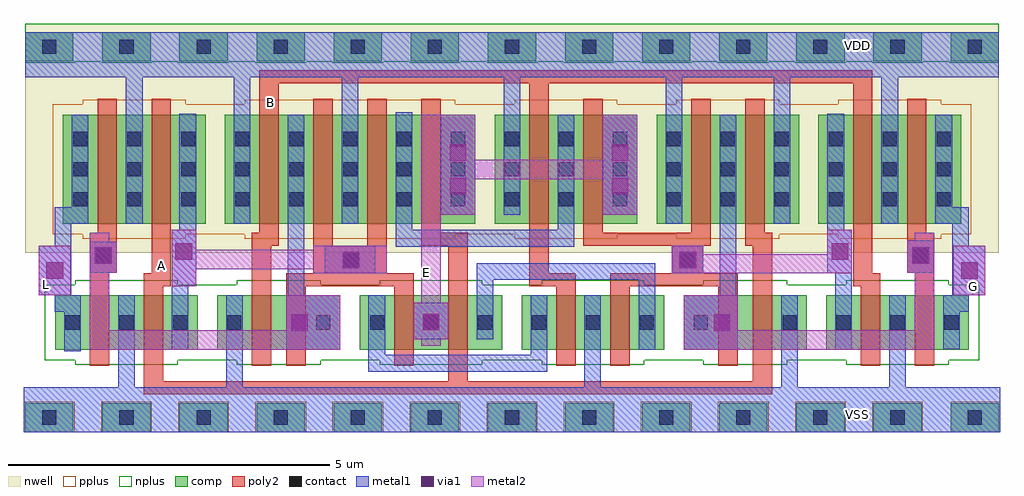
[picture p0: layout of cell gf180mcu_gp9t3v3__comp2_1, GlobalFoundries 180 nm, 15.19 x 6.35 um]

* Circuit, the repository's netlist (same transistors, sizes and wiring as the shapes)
* NGSPICE file created from gf180mcu_gp9t3v3__comp2_1.ext - technology: gf180mcuD

.subckt gf180mcu_gp9t3v3__comp2_1 L E G VDD VSS B A
X0 VDD B a_n11097_13463# VDD pfet_03v3 ad=0.459p pd=2.24u as=0.918p ps=4.48u w=1.7u l=0.3u
X1 a_n12405_13139# A VSS VSS nfet_03v3 ad=0.459p pd=2.78u as=0.2295p ps=1.39u w=0.85u l=0.3u
X2 VSS B a_n11793_13139# VSS nfet_03v3 ad=0.2295p pd=1.39u as=0.459p ps=2.78u w=0.85u l=0.3u
X3 a_n10617_13139# a_n11097_13463# a_n10785_13139# VSS nfet_03v3 ad=0.102p pd=1.09u as=0.459p ps=2.78u w=0.85u l=0.3u
X4 a_n10785_13139# a_n11097_13463# VDD VDD pfet_03v3 ad=0.459p pd=2.24u as=0.918p ps=4.48u w=1.7u l=0.3u
X5 a_n12069_13139# B VSS VSS nfet_03v3 ad=0.102p pd=1.09u as=0.459p ps=2.78u w=0.85u l=0.3u
X6 VDD a_n12633_13089# L VDD pfet_03v3 ad=0.459p pd=2.24u as=0.918p ps=4.48u w=1.7u l=0.3u
X7 E a_n11097_13463# a_n11709_13531# VDD pfet_03v3 ad=0.918p pd=4.48u as=0.459p ps=2.24u w=1.7u l=0.3u
X8 VSS a_n12633_13089# L VSS nfet_03v3 ad=0.2295p pd=1.39u as=0.459p ps=2.78u w=0.85u l=0.3u
X9 a_n11457_13139# a_n11097_13463# VSS VSS nfet_03v3 ad=0.459p pd=2.78u as=0.2295p ps=1.39u w=0.85u l=0.3u
X10 a_n11709_13531# B VDD VDD pfet_03v3 ad=0.459p pd=2.24u as=0.918p ps=4.48u w=1.7u l=0.3u
X11 E a_n12405_13139# a_n11793_13139# VSS nfet_03v3 ad=0.2295p pd=1.39u as=0.459p ps=2.78u w=0.85u l=0.3u
X12 G a_n10785_13139# VSS VSS nfet_03v3 ad=0.459p pd=2.78u as=0.2295p ps=1.39u w=0.85u l=0.3u
X13 a_n12633_13089# a_n12405_13139# a_n12069_13139# VSS nfet_03v3 ad=0.459p pd=2.78u as=0.102p ps=1.09u w=0.85u l=0.3u
X14 a_n11457_13139# A E VSS nfet_03v3 ad=0.459p pd=2.78u as=0.2295p ps=1.39u w=0.85u l=0.3u
X15 VSS B a_n11097_13463# VSS nfet_03v3 ad=0.2295p pd=1.39u as=0.459p ps=2.78u w=0.85u l=0.3u
X16 E A a_n11709_13531# VDD pfet_03v3 ad=0.918p pd=4.48u as=0.459p ps=2.24u w=1.7u l=0.3u
X17 a_n11709_13531# a_n12405_13139# VDD VDD pfet_03v3 ad=0.459p pd=2.24u as=0.459p ps=2.24u w=1.7u l=0.3u
X18 a_n12405_13139# A VDD VDD pfet_03v3 ad=0.918p pd=4.48u as=0.459p ps=2.24u w=1.7u l=0.3u
X19 VDD a_n12405_13139# a_n12633_13089# VDD pfet_03v3 ad=0.459p pd=2.24u as=0.459p ps=2.24u w=1.7u l=0.3u
X20 VSS A a_n10617_13139# VSS nfet_03v3 ad=0.459p pd=2.78u as=0.102p ps=1.09u w=0.85u l=0.3u
X21 a_n12633_13089# B VDD VDD pfet_03v3 ad=0.459p pd=2.24u as=0.918p ps=4.48u w=1.7u l=0.3u
X22 G a_n10785_13139# VDD VDD pfet_03v3 ad=0.918p pd=4.48u as=0.459p ps=2.24u w=1.7u l=0.3u
X23 VDD A a_n10785_13139# VDD pfet_03v3 ad=0.918p pd=4.48u as=0.459p ps=2.24u w=1.7u l=0.3u
.ends

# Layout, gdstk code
import gdstk
lib = gdstk.Library(unit=1e-6, precision=1e-09)
def R(c, l, rs):  # rectangles x0, y0, x1, y1
    for r in rs: c.add(gdstk.rectangle(r[:2], r[2:], *l))
nwell = (21, 0)
comp = (22, 0)
poly2 = (30, 0)
pplus = (31, 0)
nplus = (32, 0)
contact = (33, 0)
metal1 = (34, 0)
via1 = (35, 0)
metal2 = (36, 0)

gf180mcu_gp9t3v3__comp2_ = lib.new_cell('gf180mcu_gp9t3v3__comp2_1')
R(gf180mcu_gp9t3v3__comp2_, nwell, [(-64.17,67.205,-49.02,70.765), (-64.17,67.205,-49.02,70.765)])
R(gf180mcu_gp9t3v3__comp2_, comp, [(-64.17,64.415,-63.42,64.865), (-64.17,64.415,-63.42,64.865), (-64.17,64.415,-63.42,64.865), (-64.17,64.415,-63.42,64.865), (-62.97,64.415,-62.22,64.865), (-62.97,64.415,-62.22,64.865), (-62.97,64.415,-62.22,64.865), (-62.97,64.415,-62.22,64.865), (-61.77,64.415,-61.02,64.865), (-61.77,64.415,-61.02,64.865), (-60.57,64.415,-59.82,64.865), (-60.57,64.415,-59.82,64.865), (-59.37,64.415,-58.62,64.865), (-59.37,64.415,-58.62,64.865), (-58.17,64.415,-57.42,64.865), (-58.17,64.415,-57.42,64.865), (-56.97,64.415,-56.22,64.865), (-56.97,64.415,-56.22,64.865), (-55.77,64.415,-55.02,64.865), (-55.77,64.415,-55.02,64.865), (-54.57,64.415,-53.82,64.865), (-54.57,64.415,-53.82,64.865), (-53.37,64.415,-52.62,64.865), (-53.37,64.415,-52.62,64.865), (-52.17,64.415,-51.42,64.865), (-52.17,64.415,-51.42,64.865), (-50.97,64.415,-50.22,64.865), (-50.97,64.415,-50.22,64.865), (-49.77,64.415,-49.02,64.865), (-49.77,64.415,-49.02,64.865), (-49.77,64.415,-49.02,64.865), (-49.77,64.415,-49.02,64.865), (-63.705,65.695,-61.485,66.545), (-63.705,65.695,-61.485,66.545), (-61.185,65.695,-59.265,66.545), (-61.185,65.695,-59.265,66.545), (-58.965,65.695,-56.745,66.545), (-58.965,65.695,-56.745,66.545), (-56.445,65.695,-54.225,66.545), (-56.445,65.695,-54.225,66.545), (-53.925,65.695,-52.005,66.545), (-53.925,65.695,-52.005,66.545), (-51.705,65.695,-49.485,66.545), (-51.705,65.695,-49.485,66.545), (-63.585,67.655,-61.365,69.355), (-63.585,67.655,-61.365,69.355), (-61.065,67.655,-57.165,69.355), (-61.065,67.655,-57.165,69.355), (-56.865,67.655,-54.645,69.355), (-56.865,67.655,-54.645,69.355), (-54.345,67.655,-52.125,69.355), (-54.345,67.655,-52.125,69.355), (-51.825,67.655,-49.605,69.355), (-51.825,67.655,-49.605,69.355), (-64.17,70.185,-63.42,70.635), (-64.17,70.185,-63.42,70.635), (-62.97,70.185,-62.22,70.635), (-62.97,70.185,-62.22,70.635), (-62.97,70.185,-62.22,70.635), (-62.97,70.185,-62.22,70.635), (-61.77,70.185,-61.02,70.635), (-61.77,70.185,-61.02,70.635), (-60.57,70.185,-59.82,70.635), (-60.57,70.185,-59.82,70.635), (-59.37,70.185,-58.62,70.635), (-59.37,70.185,-58.62,70.635), (-58.17,70.185,-57.42,70.635), (-58.17,70.185,-57.42,70.635), (-56.97,70.185,-56.22,70.635), (-56.97,70.185,-56.22,70.635), (-55.77,70.185,-55.02,70.635), (-55.77,70.185,-55.02,70.635), (-54.57,70.185,-53.82,70.635), (-54.57,70.185,-53.82,70.635), (-53.37,70.185,-52.62,70.635), (-53.37,70.185,-52.62,70.635), (-52.17,70.185,-51.42,70.635), (-52.17,70.185,-51.42,70.635), (-50.97,70.185,-50.22,70.635), (-50.97,70.185,-50.22,70.635), (-49.77,70.185,-49.02,70.635), (-49.77,70.185,-49.02,70.635)])
R(gf180mcu_gp9t3v3__comp2_, poly2, [(-62.325,65.005,-52.545,65.205), (-62.325,65.005,-52.545,65.205), (-62.325,65.205,-62.025,66.685), (-62.325,65.205,-62.025,66.685), (-57.585,65.205,-57.285,67.315), (-57.585,65.205,-57.285,67.315), (-52.845,65.205,-52.545,67.315), (-52.845,65.205,-52.545,67.315), (-63.165,65.445,-62.865,66.895), (-63.165,65.445,-62.865,66.895), (-60.645,65.445,-60.345,67.315), (-60.645,65.445,-60.345,67.315), (-60.105,65.445,-59.805,66.685), (-60.105,65.445,-59.805,66.685), (-58.425,65.445,-58.125,66.685), (-58.425,65.445,-58.125,66.685), (-55.905,65.445,-55.605,66.685), (-55.905,65.445,-55.605,66.685), (-55.065,65.445,-54.765,66.685), (-55.065,65.445,-54.765,66.685), (-53.385,65.445,-53.085,66.685), (-53.385,65.445,-53.085,66.685), (-51.165,65.445,-50.865,66.685), (-51.165,65.445,-50.865,66.685), (-50.325,65.445,-50.025,66.895), (-50.325,65.445,-50.025,66.895), (-62.325,66.685,-61.905,66.885), (-62.325,66.685,-61.905,66.885), (-60.105,66.685,-58.125,66.885), (-60.105,66.685,-58.125,66.885), (-56.325,66.685,-55.605,66.885), (-56.325,66.685,-55.605,66.885), (-55.065,66.685,-53.085,66.885), (-55.065,66.685,-53.085,66.885), (-51.285,66.685,-50.865,66.885), (-51.285,66.685,-50.865,66.885), (-62.205,66.885,-61.905,69.605), (-62.205,66.885,-61.905,69.605), (-59.685,66.885,-58.545,67.31), (-59.685,66.885,-58.545,67.31), (-56.325,66.885,-56.025,69.845), (-56.325,66.885,-56.025,69.845), (-54.11,66.885,-53.615,67.315), (-54.11,66.885,-53.615,67.315), (-51.285,66.885,-50.985,69.845), (-51.285,66.885,-50.985,69.845), (-63.165,66.895,-62.745,67.515), (-63.165,66.895,-62.745,67.515), (-50.445,66.895,-50.025,67.515), (-50.445,66.895,-50.025,67.515), (-59.685,67.31,-59.385,69.605), (-59.685,67.31,-59.385,69.605), (-58.845,67.31,-58.545,69.605), (-58.845,67.31,-58.545,69.605), (-60.645,67.315,-60.225,67.515), (-60.645,67.315,-60.225,67.515), (-58.005,67.315,-57.285,67.515), (-58.005,67.315,-57.285,67.515), (-55.485,67.315,-53.505,67.515), (-55.485,67.315,-53.505,67.515), (-52.965,67.315,-52.545,67.515), (-52.965,67.315,-52.545,67.515), (-63.045,67.515,-62.745,69.605), (-63.045,67.515,-62.745,69.605), (-60.525,67.515,-60.225,69.845), (-60.525,67.515,-60.225,69.845), (-58.005,67.515,-57.705,69.605), (-58.005,67.515,-57.705,69.605), (-55.485,67.515,-55.185,69.605), (-55.485,67.515,-55.185,69.605), (-53.805,67.515,-53.505,69.605), (-53.805,67.515,-53.505,69.605), (-52.965,67.515,-52.665,69.605), (-52.965,67.515,-52.665,69.605), (-50.445,67.515,-50.145,69.605), (-50.445,67.515,-50.145,69.605), (-60.525,69.845,-50.985,70.045), (-60.525,69.845,-50.985,70.045)])
R(gf180mcu_gp9t3v3__comp2_, pplus, [(-64.19,64.415,-63.4,64.885), (-64.19,64.415,-63.4,64.885), (-62.99,64.415,-62.2,64.885), (-62.99,64.415,-62.2,64.885), (-61.79,64.415,-61,64.885), (-61.79,64.415,-61,64.885), (-60.59,64.415,-59.8,64.885), (-60.59,64.415,-59.8,64.885), (-59.39,64.415,-58.6,64.885), (-59.39,64.415,-58.6,64.885), (-58.19,64.415,-57.4,64.885), (-58.19,64.415,-57.4,64.885), (-56.99,64.415,-56.2,64.885), (-56.99,64.415,-56.2,64.885), (-55.79,64.415,-55,64.885), (-55.79,64.415,-55,64.885), (-54.59,64.415,-53.8,64.885), (-54.59,64.415,-53.8,64.885), (-53.39,64.415,-52.6,64.885), (-53.39,64.415,-52.6,64.885), (-52.19,64.415,-51.4,64.885), (-52.19,64.415,-51.4,64.885), (-50.99,64.415,-50.2,64.885), (-50.99,64.415,-50.2,64.885), (-49.77,64.415,-49,64.885), (-49.77,64.415,-49,64.885), (-63.275,67.425,-61.675,67.495), (-63.275,67.425,-61.675,67.495), (-60.755,67.425,-57.475,67.495), (-60.755,67.425,-57.475,67.495), (-56.555,67.425,-54.955,67.495), (-56.555,67.425,-54.955,67.495), (-54.035,67.425,-52.435,67.495), (-54.035,67.425,-52.435,67.495), (-51.515,67.425,-49.915,67.495), (-51.515,67.425,-49.915,67.495), (-63.745,67.495,-49.445,69.515), (-63.745,67.495,-49.445,69.515), (-63.275,69.515,-61.675,69.585), (-63.275,69.515,-61.675,69.585), (-60.755,69.515,-57.475,69.585), (-60.755,69.515,-57.475,69.585), (-56.555,69.515,-54.955,69.585), (-56.555,69.515,-54.955,69.585), (-54.035,69.515,-52.435,69.585), (-54.035,69.515,-52.435,69.585), (-51.515,69.515,-49.915,69.585), (-51.515,69.515,-49.915,69.585)])
R(gf180mcu_gp9t3v3__comp2_, nplus, [(-63.395,65.465,-61.795,65.535), (-63.395,65.465,-61.795,65.535), (-60.875,65.465,-59.575,65.535), (-60.875,65.465,-59.575,65.535), (-58.655,65.465,-57.055,65.535), (-58.655,65.465,-57.055,65.535), (-56.135,65.465,-54.535,65.535), (-56.135,65.465,-54.535,65.535), (-53.615,65.465,-52.315,65.535), (-53.615,65.465,-52.315,65.535), (-51.395,65.465,-49.795,65.535), (-51.395,65.465,-49.795,65.535), (-63.865,65.535,-49.325,66.705), (-63.865,65.535,-49.325,66.705), (-63.395,66.705,-61.795,66.775), (-63.395,66.705,-61.795,66.775), (-60.875,66.705,-59.575,66.775), (-60.875,66.705,-59.575,66.775), (-58.655,66.705,-57.055,66.775), (-58.655,66.705,-57.055,66.775), (-56.135,66.705,-54.535,66.775), (-56.135,66.705,-54.535,66.775), (-53.615,66.705,-52.315,66.775), (-53.615,66.705,-52.315,66.775), (-51.395,66.705,-49.795,66.775), (-51.395,66.705,-49.795,66.775), (-64.17,70.165,-63.4,70.175), (-64.17,70.165,-63.4,70.175), (-62.99,70.165,-62.2,70.175), (-62.99,70.165,-62.2,70.175), (-62.99,70.165,-62.2,70.175), (-62.99,70.165,-62.2,70.175), (-61.79,70.165,-61,70.175), (-61.79,70.165,-61,70.175), (-60.59,70.165,-59.8,70.175), (-60.59,70.165,-59.8,70.175), (-59.39,70.165,-58.6,70.175), (-59.39,70.165,-58.6,70.175), (-58.19,70.165,-57.4,70.175), (-58.19,70.165,-57.4,70.175), (-56.99,70.165,-56.2,70.175), (-56.99,70.165,-56.2,70.175), (-55.79,70.165,-55,70.175), (-55.79,70.165,-55,70.175), (-54.59,70.165,-53.8,70.175), (-54.59,70.165,-53.8,70.175), (-53.39,70.165,-52.6,70.175), (-53.39,70.165,-52.6,70.175), (-52.19,70.165,-51.4,70.175), (-52.19,70.165,-51.4,70.175), (-50.99,70.165,-50.2,70.175), (-50.99,70.165,-50.2,70.175), (-49.79,70.165,-49.02,70.175), (-49.79,70.165,-49.02,70.175), (-64.17,70.175,-49.02,70.765), (-64.17,70.175,-49.02,70.765)])
R(gf180mcu_gp9t3v3__comp2_, contact, [(-63.905,64.53,-63.685,64.75), (-63.905,64.53,-63.685,64.75), (-63.905,64.53,-63.685,64.75), (-63.905,64.53,-63.685,64.75), (-62.705,64.53,-62.485,64.75), (-62.705,64.53,-62.485,64.75), (-62.705,64.53,-62.485,64.75), (-62.705,64.53,-62.485,64.75), (-61.505,64.53,-61.285,64.75), (-61.505,64.53,-61.285,64.75), (-60.305,64.53,-60.085,64.75), (-60.305,64.53,-60.085,64.75), (-59.105,64.53,-58.885,64.75), (-59.105,64.53,-58.885,64.75), (-57.905,64.53,-57.685,64.75), (-57.905,64.53,-57.685,64.75), (-56.705,64.53,-56.485,64.75), (-56.705,64.53,-56.485,64.75), (-55.505,64.53,-55.285,64.75), (-55.505,64.53,-55.285,64.75), (-54.305,64.53,-54.085,64.75), (-54.305,64.53,-54.085,64.75), (-53.105,64.53,-52.885,64.75), (-53.105,64.53,-52.885,64.75), (-51.905,64.53,-51.685,64.75), (-51.905,64.53,-51.685,64.75), (-50.705,64.53,-50.485,64.75), (-50.705,64.53,-50.485,64.75), (-49.505,64.53,-49.285,64.75), (-49.505,64.53,-49.285,64.75), (-49.505,64.53,-49.285,64.75), (-49.505,64.53,-49.285,64.75), (-63.545,66.01,-63.325,66.23), (-63.545,66.01,-63.325,66.23), (-62.705,66.01,-62.485,66.23), (-62.705,66.01,-62.485,66.23), (-61.865,66.01,-61.645,66.23), (-61.865,66.01,-61.645,66.23), (-61.025,66.01,-60.805,66.23), (-61.025,66.01,-60.805,66.23), (-59.645,66.01,-59.425,66.23), (-59.645,66.01,-59.425,66.23), (-58.805,66.01,-58.585,66.23), (-58.805,66.01,-58.585,66.23), (-57.965,66.01,-57.745,66.23), (-57.965,66.01,-57.745,66.23), (-57.125,66.01,-56.905,66.23), (-57.125,66.01,-56.905,66.23), (-56.285,66.01,-56.065,66.23), (-56.285,66.01,-56.065,66.23), (-55.445,66.01,-55.225,66.23), (-55.445,66.01,-55.225,66.23), (-54.605,66.01,-54.385,66.23), (-54.605,66.01,-54.385,66.23), (-53.765,66.01,-53.545,66.23), (-53.765,66.01,-53.545,66.23), (-52.385,66.01,-52.165,66.23), (-52.385,66.01,-52.165,66.23), (-51.545,66.01,-51.325,66.23), (-51.545,66.01,-51.325,66.23), (-50.705,66.01,-50.485,66.23), (-50.705,66.01,-50.485,66.23), (-49.865,66.01,-49.645,66.23), (-49.865,66.01,-49.645,66.23), (-59.21,66.98,-58.99,67.2), (-59.21,66.98,-58.99,67.2), (-53.97,66.98,-53.75,67.2), (-53.97,66.98,-53.75,67.2), (-63.065,67.05,-62.845,67.27), (-63.065,67.05,-62.845,67.27), (-50.345,67.05,-50.125,67.27), (-50.345,67.05,-50.125,67.27), (-63.425,67.925,-63.205,68.145), (-63.425,67.925,-63.205,68.145), (-62.585,67.925,-62.365,68.145), (-62.585,67.925,-62.365,68.145), (-61.745,67.925,-61.525,68.145), (-61.745,67.925,-61.525,68.145), (-60.905,67.925,-60.685,68.145), (-60.905,67.925,-60.685,68.145), (-60.065,67.925,-59.845,68.145), (-60.065,67.925,-59.845,68.145), (-59.225,67.925,-59.005,68.145), (-59.225,67.925,-59.005,68.145), (-58.385,67.925,-58.165,68.145), (-58.385,67.925,-58.165,68.145), (-57.545,67.925,-57.325,68.145), (-57.545,67.925,-57.325,68.145), (-56.705,67.925,-56.485,68.145), (-56.705,67.925,-56.485,68.145), (-55.865,67.925,-55.645,68.145), (-55.865,67.925,-55.645,68.145), (-55.025,67.925,-54.805,68.145), (-55.025,67.925,-54.805,68.145), (-54.185,67.925,-53.965,68.145), (-54.185,67.925,-53.965,68.145), (-53.345,67.925,-53.125,68.145), (-53.345,67.925,-53.125,68.145), (-52.505,67.925,-52.285,68.145), (-52.505,67.925,-52.285,68.145), (-51.665,67.925,-51.445,68.145), (-51.665,67.925,-51.445,68.145), (-50.825,67.925,-50.605,68.145), (-50.825,67.925,-50.605,68.145), (-49.985,67.925,-49.765,68.145), (-49.985,67.925,-49.765,68.145), (-63.425,68.395,-63.205,68.615), (-63.425,68.395,-63.205,68.615), (-62.585,68.395,-62.365,68.615), (-62.585,68.395,-62.365,68.615), (-61.745,68.395,-61.525,68.615), (-61.745,68.395,-61.525,68.615), (-60.905,68.395,-60.685,68.615), (-60.905,68.395,-60.685,68.615), (-60.065,68.395,-59.845,68.615), (-60.065,68.395,-59.845,68.615), (-59.225,68.395,-59.005,68.615), (-59.225,68.395,-59.005,68.615), (-58.385,68.395,-58.165,68.615), (-58.385,68.395,-58.165,68.615), (-57.545,68.395,-57.325,68.615), (-57.545,68.395,-57.325,68.615), (-56.705,68.395,-56.485,68.615), (-56.705,68.395,-56.485,68.615), (-55.865,68.395,-55.645,68.615), (-55.865,68.395,-55.645,68.615), (-55.025,68.395,-54.805,68.615), (-55.025,68.395,-54.805,68.615), (-54.185,68.395,-53.965,68.615), (-54.185,68.395,-53.965,68.615), (-53.345,68.395,-53.125,68.615), (-53.345,68.395,-53.125,68.615), (-52.505,68.395,-52.285,68.615), (-52.505,68.395,-52.285,68.615), (-51.665,68.395,-51.445,68.615), (-51.665,68.395,-51.445,68.615), (-50.825,68.395,-50.605,68.615), (-50.825,68.395,-50.605,68.615), (-49.985,68.395,-49.765,68.615), (-49.985,68.395,-49.765,68.615), (-63.425,68.865,-63.205,69.085), (-63.425,68.865,-63.205,69.085), (-62.585,68.865,-62.365,69.085), (-62.585,68.865,-62.365,69.085), (-61.745,68.865,-61.525,69.085), (-61.745,68.865,-61.525,69.085), (-60.905,68.865,-60.685,69.085), (-60.905,68.865,-60.685,69.085), (-60.065,68.865,-59.845,69.085), (-60.065,68.865,-59.845,69.085), (-59.225,68.865,-59.005,69.085), (-59.225,68.865,-59.005,69.085), (-58.385,68.865,-58.165,69.085), (-58.385,68.865,-58.165,69.085), (-57.545,68.865,-57.325,69.085), (-57.545,68.865,-57.325,69.085), (-56.705,68.865,-56.485,69.085), (-56.705,68.865,-56.485,69.085), (-55.865,68.865,-55.645,69.085), (-55.865,68.865,-55.645,69.085), (-55.025,68.865,-54.805,69.085), (-55.025,68.865,-54.805,69.085), (-54.185,68.865,-53.965,69.085), (-54.185,68.865,-53.965,69.085), (-53.345,68.865,-53.125,69.085), (-53.345,68.865,-53.125,69.085), (-52.505,68.865,-52.285,69.085), (-52.505,68.865,-52.285,69.085), (-51.665,68.865,-51.445,69.085), (-51.665,68.865,-51.445,69.085), (-50.825,68.865,-50.605,69.085), (-50.825,68.865,-50.605,69.085), (-49.985,68.865,-49.765,69.085), (-49.985,68.865,-49.765,69.085), (-63.905,70.3,-63.685,70.52), (-63.905,70.3,-63.685,70.52), (-62.705,70.3,-62.485,70.52), (-62.705,70.3,-62.485,70.52), (-62.705,70.3,-62.485,70.52), (-62.705,70.3,-62.485,70.52), (-61.505,70.3,-61.285,70.52), (-61.505,70.3,-61.285,70.52), (-60.305,70.3,-60.085,70.52), (-60.305,70.3,-60.085,70.52), (-59.105,70.3,-58.885,70.52), (-59.105,70.3,-58.885,70.52), (-57.905,70.3,-57.685,70.52), (-57.905,70.3,-57.685,70.52), (-56.705,70.3,-56.485,70.52), (-56.705,70.3,-56.485,70.52), (-55.505,70.3,-55.285,70.52), (-55.505,70.3,-55.285,70.52), (-54.305,70.3,-54.085,70.52), (-54.305,70.3,-54.085,70.52), (-53.105,70.3,-52.885,70.52), (-53.105,70.3,-52.885,70.52), (-51.905,70.3,-51.685,70.52), (-51.905,70.3,-51.685,70.52), (-50.705,70.3,-50.485,70.52), (-50.705,70.3,-50.485,70.52), (-49.505,70.3,-49.285,70.52), (-49.505,70.3,-49.285,70.52)])
R(gf180mcu_gp9t3v3__comp2_, metal1, [(-64.19,64.415,-49,65.115), (-64.19,64.415,-49,65.115), (-62.725,65.115,-62.465,66.545), (-62.725,65.115,-62.465,66.545), (-61.045,65.115,-60.785,66.545), (-61.045,65.115,-60.785,66.545), (-55.47,65.115,-55.21,66.545), (-55.47,65.115,-55.21,66.545), (-52.405,65.115,-52.145,66.545), (-52.405,65.115,-52.145,66.545), (-50.725,65.115,-50.465,66.545), (-50.725,65.115,-50.465,66.545), (-58.83,65.355,-56.045,65.615), (-58.83,65.355,-56.045,65.615), (-58.83,65.615,-58.57,66.545), (-58.83,65.615,-58.57,66.545), (-56.305,65.615,-56.045,66.545), (-56.305,65.615,-56.045,66.545), (-63.565,65.67,-63.305,66.285), (-63.565,65.67,-63.305,66.285), (-61.89,65.695,-61.63,66.685), (-61.89,65.695,-61.63,66.685), (-60.105,65.695,-59.265,66.545), (-60.105,65.695,-59.265,66.545), (-54.625,65.695,-54.365,66.785), (-54.625,65.695,-54.365,66.785), (-53.925,65.695,-53.085,66.545), (-53.925,65.695,-53.085,66.545), (-51.565,65.695,-51.305,66.885), (-51.565,65.695,-51.305,66.885), (-49.885,65.7,-49.625,66.285), (-49.885,65.7,-49.625,66.285), (-58.125,65.855,-57.585,66.425), (-58.125,65.855,-57.585,66.425), (-57.145,65.855,-56.885,66.785), (-57.145,65.855,-56.885,66.785), (-63.715,66.285,-63.305,66.545), (-63.715,66.285,-63.305,66.545), (-49.885,66.285,-49.485,66.545), (-49.885,66.285,-49.485,66.545), (-63.96,66.545,-63.455,67.31), (-63.96,66.545,-63.455,67.31), (-60.085,66.545,-59.825,69.355), (-60.085,66.545,-59.825,69.355), (-53.365,66.545,-53.105,69.355), (-53.365,66.545,-53.105,69.355), (-49.745,66.545,-49.23,67.31), (-49.745,66.545,-49.23,67.31), (-61.89,66.685,-61.51,67.565), (-61.89,66.685,-61.51,67.565), (-57.145,66.785,-54.365,67.045), (-57.145,66.785,-54.365,67.045), (-59.51,66.885,-58.725,67.31), (-59.51,66.885,-58.725,67.31), (-54.11,66.885,-53.615,67.315), (-54.11,66.885,-53.615,67.315), (-51.685,66.885,-51.305,67.565), (-51.685,66.885,-51.305,67.565), (-63.165,66.895,-62.745,67.375), (-63.165,66.895,-62.745,67.375), (-50.445,66.895,-50.025,67.4), (-50.445,66.895,-50.025,67.4), (-58.405,67.3,-55.625,67.56), (-58.405,67.3,-55.625,67.56), (-63.715,67.31,-63.455,67.655), (-63.715,67.31,-63.455,67.655), (-49.745,67.31,-49.485,67.655), (-49.745,67.31,-49.485,67.655), (-58.405,67.56,-58.145,69.39), (-58.405,67.56,-58.145,69.39), (-55.885,67.56,-55.625,69.355), (-55.885,67.56,-55.625,69.355), (-61.77,67.565,-61.51,69.37), (-61.77,67.565,-61.51,69.37), (-51.685,67.565,-51.425,69.37), (-51.685,67.565,-51.425,69.37), (-63.715,67.655,-63.19,67.915), (-63.715,67.655,-63.19,67.915), (-62.605,67.655,-62.345,69.935), (-62.605,67.655,-62.345,69.935), (-60.925,67.655,-60.665,69.935), (-60.925,67.655,-60.665,69.935), (-59.245,67.655,-58.985,69.935), (-59.245,67.655,-58.985,69.935), (-54.205,67.655,-53.945,69.935), (-54.205,67.655,-53.945,69.935), (-52.525,67.655,-52.265,69.935), (-52.525,67.655,-52.265,69.935), (-50.845,67.655,-50.585,69.935), (-50.845,67.655,-50.585,69.935), (-50.005,67.655,-49.485,67.915), (-50.005,67.655,-49.485,67.915), (-57.705,67.8,-57.165,69.355), (-57.705,67.8,-57.165,69.355), (-56.725,67.8,-56.465,69.935), (-56.725,67.8,-56.465,69.935), (-55.185,67.8,-54.645,69.355), (-55.185,67.8,-54.645,69.355), (-63.45,67.915,-63.19,69.355), (-63.45,67.915,-63.19,69.355), (-50.005,67.915,-49.745,69.355), (-50.005,67.915,-49.745,69.355), (-64.17,69.935,-49.02,70.635), (-64.17,69.935,-49.02,70.635)])
R(gf180mcu_gp9t3v3__comp2_, via1, [(-60.03,65.985,-59.77,66.245), (-60.03,65.985,-59.77,66.245), (-53.455,65.985,-53.195,66.245), (-53.455,65.985,-53.195,66.245), (-57.985,65.995,-57.725,66.255), (-57.985,65.995,-57.725,66.255), (-63.84,66.8,-63.58,67.06), (-63.84,66.8,-63.58,67.06), (-49.605,66.8,-49.345,67.06), (-49.605,66.8,-49.345,67.06), (-59.23,66.96,-58.97,67.22), (-59.23,66.96,-58.97,67.22), (-53.99,66.96,-53.73,67.22), (-53.99,66.96,-53.73,67.22), (-63.085,67.03,-62.825,67.29), (-63.085,67.03,-62.825,67.29), (-50.365,67.03,-50.105,67.29), (-50.365,67.03,-50.105,67.29), (-61.835,67.095,-61.575,67.355), (-61.835,67.095,-61.575,67.355), (-51.62,67.095,-51.36,67.355), (-51.62,67.095,-51.36,67.355), (-57.565,68.115,-57.305,68.375), (-57.565,68.115,-57.305,68.375), (-55.045,68.115,-54.785,68.375), (-55.045,68.115,-54.785,68.375), (-57.565,68.635,-57.305,68.895), (-57.565,68.635,-57.305,68.895), (-55.045,68.635,-54.785,68.895), (-55.045,68.635,-54.785,68.895)])
R(gf180mcu_gp9t3v3__comp2_, metal2, [(-63.165,65.695,-59.265,65.995), (-63.165,65.695,-59.265,65.995), (-53.925,65.695,-50.025,65.995), (-53.925,65.695,-50.025,65.995), (-58.005,65.76,-57.705,65.855), (-58.005,65.76,-57.705,65.855), (-58.125,65.855,-57.585,66.425), (-58.125,65.855,-57.585,66.425), (-63.165,65.995,-62.865,66.895), (-63.165,65.995,-62.865,66.895), (-60.105,65.995,-59.265,66.545), (-60.105,65.995,-59.265,66.545), (-53.925,65.995,-53.085,66.545), (-53.925,65.995,-53.085,66.545), (-50.325,65.995,-50.025,66.895), (-50.325,65.995,-50.025,66.895), (-58.005,66.425,-57.705,67.8), (-58.005,66.425,-57.705,67.8), (-63.96,66.545,-63.465,67.31), (-63.96,66.545,-63.465,67.31), (-49.725,66.545,-49.23,67.31), (-49.725,66.545,-49.23,67.31), (-61.89,66.685,-61.51,66.95), (-61.89,66.685,-61.51,66.95), (-59.685,66.885,-58.545,66.95), (-59.685,66.885,-58.545,66.95), (-54.11,66.885,-51.305,67.185), (-54.11,66.885,-51.305,67.185), (-63.165,66.895,-62.745,67.375), (-63.165,66.895,-62.745,67.375), (-50.445,66.895,-50.025,67.4), (-50.445,66.895,-50.025,67.4), (-61.89,66.95,-58.545,67.25), (-61.89,66.95,-58.545,67.25), (-54.11,67.185,-53.615,67.315), (-54.11,67.185,-53.615,67.315), (-51.685,67.185,-51.305,67.565), (-51.685,67.185,-51.305,67.565), (-61.89,67.25,-61.51,67.565), (-61.89,67.25,-61.51,67.565), (-59.685,67.25,-58.545,67.31), (-59.685,67.25,-58.545,67.31), (-63.165,67.375,-62.865,67.515), (-63.165,67.375,-62.865,67.515), (-50.325,67.4,-50.025,67.515), (-50.325,67.4,-50.025,67.515), (-58.005,67.8,-57.165,68.35), (-58.005,67.8,-57.165,68.35), (-55.185,67.8,-54.645,68.35), (-55.185,67.8,-54.645,68.35), (-58.005,68.35,-54.645,68.65), (-58.005,68.35,-54.645,68.65), (-58.005,68.65,-57.165,69.355), (-58.005,68.65,-57.165,69.355), (-55.185,68.65,-54.645,69.355), (-55.185,68.65,-54.645,69.355)])
gf180mcu_gp9t3v3__comp2_.add(gdstk.Label('L', (-63.84,66.715), layer=36, texttype=10))
gf180mcu_gp9t3v3__comp2_.add(gdstk.Label('E', (-57.93,66.89), layer=36, texttype=10))
gf180mcu_gp9t3v3__comp2_.add(gdstk.Label('G', (-49.405,66.68), layer=36, texttype=10))
gf180mcu_gp9t3v3__comp2_.add(gdstk.Label('VDD', (-51.22,70.425), layer=34, texttype=10))
gf180mcu_gp9t3v3__comp2_.add(gdstk.Label('VSS', (-51.22,64.68), layer=34, texttype=10))
gf180mcu_gp9t3v3__comp2_.add(gdstk.Label('A', (-62.05,67), layer=30, texttype=10))
gf180mcu_gp9t3v3__comp2_.add(gdstk.Label('B', (-60.35,69.55), layer=30, texttype=10))
gf180mcu_gp9t3v3__comp2_.add(gdstk.Label('B', (-60.35,69.55), layer=30, texttype=10))
gf180mcu_gp9t3v3__comp2_.add(gdstk.Label('A', (-62.05,67), layer=30, texttype=10))

lib.write_gds('gf180mcu_gp9t3v3__comp2_1.gds')
